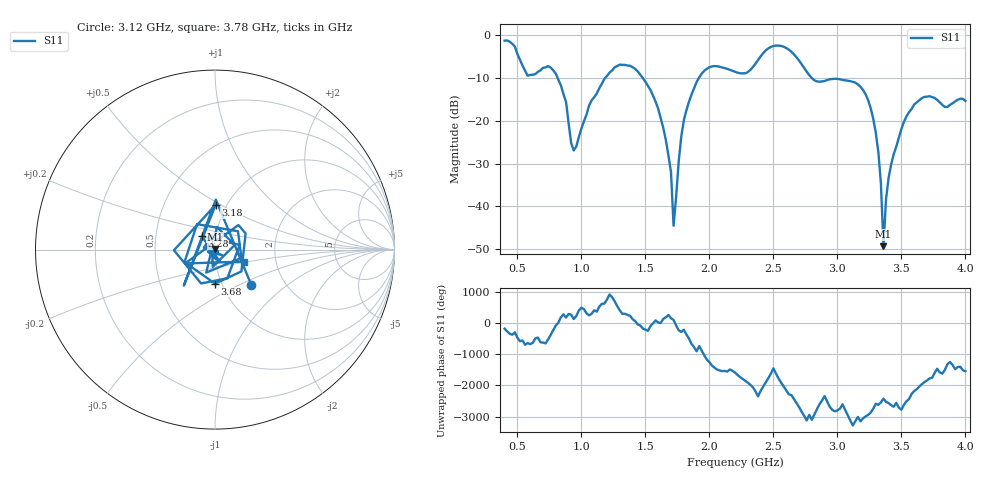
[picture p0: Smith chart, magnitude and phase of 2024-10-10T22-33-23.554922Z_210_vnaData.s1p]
! Created with skrf (http://scikit-rf.org).
# Hz S RI R 50.0
!freq ReS11 ImS11
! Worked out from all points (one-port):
!   181 points, 400 MHz to 4 GHz, reference 50 ohm
!   lowest |S11| = -49.3 dB at 3.36 GHz (marker M1), VSWR 1.01, Z = 50 + j0.342 ohm
!   |S11| at or under -10 dB: 813.7 MHz to 1.186 GHz (372.7 MHz wide, 37.3 % of centre); 1.479 GHz to 1.918 GHz (439.1 MHz wide, 25.8 % of centre); 2.798 GHz to end of sweep
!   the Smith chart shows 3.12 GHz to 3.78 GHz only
!   S11 on the Smith chart (normalised r, x): 3.12 GHz: 1.36, -0.59; 3.18 GHz: 0.89, +0.47; 3.28 GHz: 0.85, +0.13; 3.68 GHz: 0.93, -0.37; 3.78 GHz: 1.37, -0.19
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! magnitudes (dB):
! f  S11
! 400 MHz  -1.3
! 580 MHz  -9.5
! 760 MHz  -7.6
! 860 MHz  -13.8
! 940 MHz  -26.9
! 1.08 GHz  -15.3
! 1.3 GHz  -6.9
! 1.6 GHz  -17.2
! 1.7 GHz  -32.0
! 1.72 GHz  -44.5
! 1.76 GHz  -29.6
! 1.8 GHz  -19.9
! 1.92 GHz  -9.9
! 2.2 GHz  -8.6
! 2.66 GHz  -4.5
! 2.82 GHz  -10.6
! 3.1 GHz  -10.8
! 3.12 GHz  -10.9
! 3.18 GHz  -12.1
! 3.28 GHz  -19.5
! 3.34 GHz  -34.6
! 3.36 GHz  -49.3
! 3.38 GHz  -38.3
! 3.42 GHz  -30.2
! 3.56 GHz  -18.0
! 3.68 GHz  -14.4
! 3.78 GHz  -15.2
! 4 GHz  -15.4
